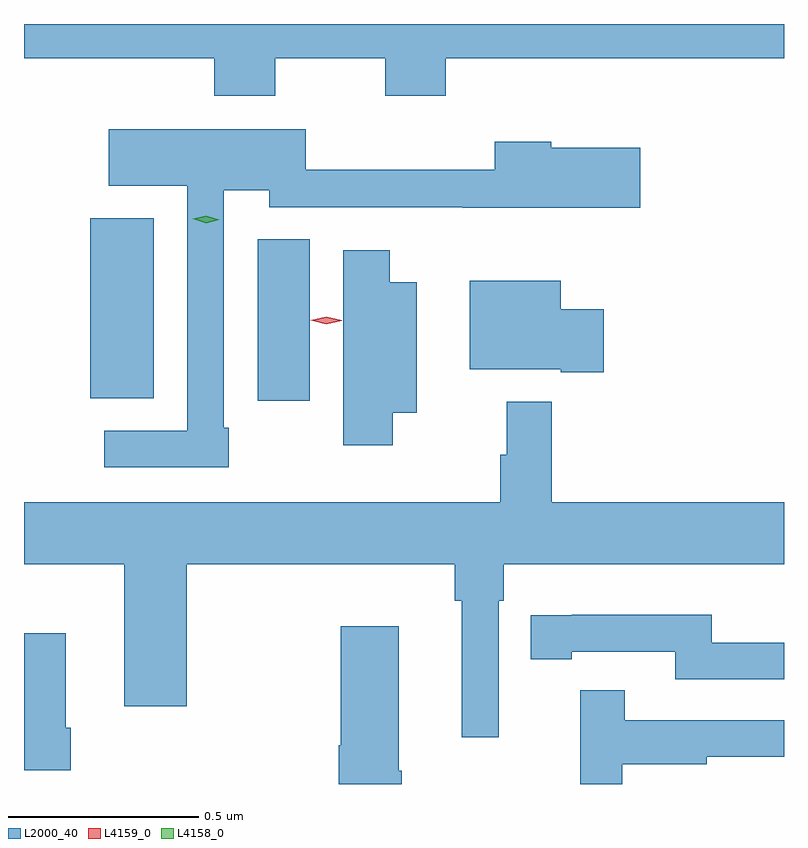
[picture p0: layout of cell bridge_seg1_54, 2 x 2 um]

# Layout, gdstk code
import gdstk
lib = gdstk.Library(unit=1e-6, precision=1e-09)
def R(c, l, rs):  # rectangles x0, y0, x1, y1
    for r in rs: c.add(gdstk.rectangle(r[:2], r[2:], *l))
def P(c, l, *ps):  # polygons
    for p in ps: c.add(gdstk.Polygon(p, *l))
L2000_40 = (2000, 40)
L4158_0 = (4158, 0)
L4159_0 = (4159, 0)

bridge_seg1_54 = lib.new_cell('bridge_seg1_54')
R(bridge_seg1_54, L2000_40, [(489.035,565.482,489.172,565.907), (488.594,565.489,488.761,565.963)])
P(bridge_seg1_54, L2000_40, [(489.081,566.384),(489.37,566.384),(489.37,566.285),(489.53,566.285),(489.53,566.384),(490.42,566.384),(490.42,566.474),(488.42,566.474),(488.42,566.384),(488.921,566.384),(488.921,566.285),(489.081,566.285)],
  [(488.959,565.411),(488.946,565.411),(488.946,566.036),(489.066,566.036),(489.066,565.992),(489.575,565.992),(489.575,565.991),(490.042,565.991),(490.042,566.149),(489.807,566.149),(489.807,566.164),(489.659,566.164),(489.659,566.09),(489.162,566.09),(489.162,566.197),(488.643,566.197),(488.643,566.048),(488.85,566.048),(488.85,565.404),(488.631,565.404),(488.631,565.308),(488.959,565.308)],
  [(489.39,565.451),(489.454,565.451),(489.454,565.795),(489.382,565.795),(489.382,565.879),(489.26,565.879),(489.26,565.365),(489.39,565.365)],
  [(489.946,565.723),(489.832,565.723),(489.832,565.798),(489.593,565.798),(489.593,565.565),(489.833,565.565),(489.833,565.558),(489.946,565.558)],
  [(489.669,564.956),(489.683,564.956),(489.683,565.052),(490.42,565.052),(490.42,565.216),(489.809,565.216),(489.809,565.48),(489.691,565.48),(489.691,565.34),(489.673,565.34),(489.673,565.216),(488.42,565.216),(488.42,565.052),(488.684,565.052),(488.684,564.678),(488.848,564.678),(488.848,565.052),(489.553,565.052),(489.553,564.956),(489.572,564.956),(489.572,564.597),(489.669,564.597)],
  [(490.42,564.846),(490.23,564.846),(490.23,564.919),(489.862,564.919),(489.862,564.918),(489.754,564.918),(489.754,564.802),(489.862,564.802),(489.862,564.822),(490.134,564.822),(490.134,564.75),(490.42,564.75)],
  [(489.414,564.509),(489.406,564.509),(489.406,564.889),(489.253,564.889),(489.253,564.576),(489.248,564.576),(489.248,564.474),(489.414,564.474)],
  [(488.543,564.622),(488.53,564.622),(488.53,564.871),(488.42,564.871),(488.42,564.51),(488.543,564.51)],
  [(489.994,564.526),(490.217,564.526),(490.217,564.546),(490.42,564.546),(490.42,564.642),(490.001,564.642),(490.001,564.721),(489.884,564.721),(489.884,564.474),(489.994,564.474)])
P(bridge_seg1_54, L4158_0, [(488.899,565.95),(488.864,565.961),(488.864,565.961),(488.864,565.962),(488.899,565.97),(488.934,565.959),(488.934,565.959),(488.934,565.959)])
P(bridge_seg1_54, L4159_0, [(489.215,565.684),(489.175,565.695),(489.175,565.695),(489.175,565.695),(489.216,565.704),(489.256,565.694),(489.256,565.694),(489.256,565.693)])

lib.write_gds('bridge_seg1_54.gds')
